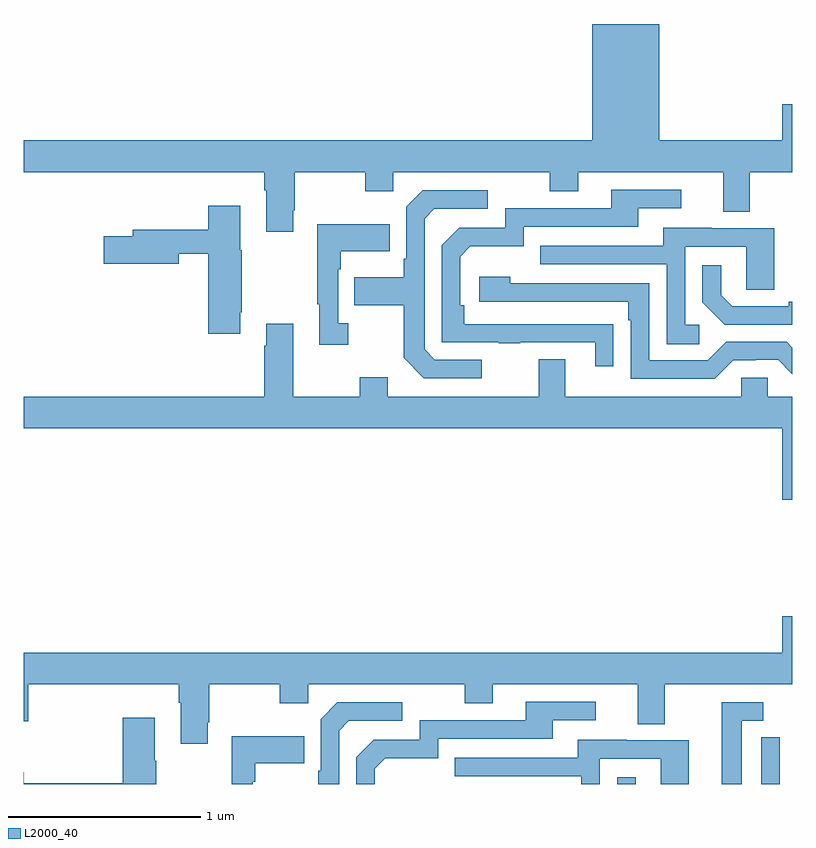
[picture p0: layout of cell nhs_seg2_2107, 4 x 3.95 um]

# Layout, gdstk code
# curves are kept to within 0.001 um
import gdstk
lib = gdstk.Library(unit=1e-6, precision=1e-09)
def R(c, l, rs):  # rectangles x0, y0, x1, y1
    for r in rs: c.add(gdstk.rectangle(r[:2], r[2:], *l))
def P(c, l, *ps):  # polygons
    for p in ps: c.add(gdstk.Polygon(p, *l))
L2000_40 = (2000, 40)

nhs_seg2_2107 = lib.new_cell('nhs_seg2_2107')
R(nhs_seg2_2107, L2000_40, [(224.088,629.8,224.185,629.836)])
P(nhs_seg2_2107, L2000_40, [(222.403,632.785),(222.411,632.785),(222.411,632.984),(222.778,632.984),(222.778,632.885),(222.924,632.885),(222.924,632.984),(223.738,632.984),(223.738,632.885),(223.885,632.885),(223.885,632.984),(224.639,632.984),(224.639,632.776),(224.779,632.776),(224.779,632.984),(225,632.984),(225,633.337),(224.948,633.337),(224.948,633.148),(224.308,633.148),(224.308,633.754),(223.958,633.754),(223.958,633.148),(221,633.148),(221,632.984),(222.251,632.984),(222.251,632.888),(222.263,632.888),(222.263,632.673),(222.403,632.673)],
  [(224.069,632.192),(223.292,632.193),(223.292,632.29),(223.272,632.29),(223.272,632.544),(223.325,632.597),(223.602,632.597),(223.602,632.7),(224.197,632.7),(224.197,632.796),(224.422,632.796),(224.422,632.892),(224.057,632.892),(224.057,632.796),(223.506,632.796),(223.506,632.694),(223.266,632.694),(223.176,632.604),(223.176,632.097),(223.471,632.097),(223.471,632.092),(223.583,632.092),(223.583,632.097),(223.973,632.097),(223.973,631.974),(224.069,631.974)],
  [(223.384,632.007),(223.14,632.007),(223.086,632.061),(223.086,632.742),(223.137,632.793),(223.414,632.793),(223.414,632.889),(223.077,632.889),(222.99,632.802),(222.99,632.533),(222.978,632.533),(222.978,632.437),(222.721,632.437),(222.721,632.29),(222.978,632.29),(222.978,632.017),(223.083,631.911),(223.384,631.911)],
  [(222.127,632.254),(222.135,632.254),(222.135,632.577),(222.127,632.577),(222.127,632.809),(221.96,632.809),(221.96,632.683),(221.567,632.683),(221.567,632.649),(221.418,632.649),(221.418,632.507),(221.806,632.507),(221.806,632.558),(221.96,632.558),(221.96,632.142),(222.127,632.142)],
  [(222.688,632.198),(222.636,632.198),(222.636,632.477),(222.649,632.477),(222.649,632.573),(222.905,632.573),(222.905,632.713),(222.528,632.713),(222.528,632.297),(222.539,632.297),(222.539,632.085),(222.688,632.085)],
  [(224.515,632.19),(224.442,632.19),(224.442,632.595),(224.76,632.595),(224.76,632.371),(224.905,632.371),(224.905,632.691),(224.581,632.691),(224.581,632.695),(224.327,632.695),(224.327,632.601),(223.687,632.601),(223.687,632.505),(224.346,632.505),(224.346,632.089),(224.515,632.089)],
  [(225,632.309),(224.981,632.309),(224.981,632.286),(224.686,632.286),(224.629,632.343),(224.629,632.5),(224.532,632.5),(224.532,632.306),(224.648,632.19),(225,632.19)],
  [(224.691,632.004),(224.81,632.004),(224.81,632.007),(224.925,632.007),(225,631.932),(225,632.07),(224.97,632.1),(224.655,632.1),(224.559,632.004),(224.256,632.004),(224.256,632.406),(223.532,632.406),(223.532,632.44),(223.371,632.44),(223.371,632.31),(224.147,632.31),(224.147,632.213),(224.16,632.213),(224.16,631.908),(224.595,631.908)],
  [(222.748,631.915),(222.748,631.816),(222.403,631.816),(222.403,632.194),(222.263,632.194),(222.263,632.081),(222.251,632.081),(222.251,631.816),(221,631.816),(221,631.652),(224.948,631.652),(224.948,631.278),(225,631.278),(225,631.816),(224.871,631.816),(224.871,631.914),(224.733,631.914),(224.733,631.816),(223.819,631.816),(223.819,632.011),(223.679,632.011),(223.679,631.816),(222.895,631.816),(222.895,631.915)],
  [(221.959,630.121),(221.967,630.121),(221.967,630.32),(222.334,630.32),(222.334,630.221),(222.48,630.221),(222.48,630.32),(223.294,630.32),(223.294,630.221),(223.441,630.221),(223.441,630.32),(224.195,630.32),(224.195,630.112),(224.335,630.112),(224.335,630.32),(225,630.32),(225,630.673),(224.948,630.673),(224.948,630.484),(221,630.484),(221,630.126),(221.024,630.126),(221.024,630.32),(221.807,630.32),(221.807,630.224),(221.819,630.224),(221.819,630.009),(221.959,630.009)],
  [(222.828,629.88),(222.881,629.933),(223.158,629.933),(223.158,630.036),(223.753,630.036),(223.753,630.132),(223.978,630.132),(223.978,630.228),(223.613,630.228),(223.613,630.132),(223.062,630.132),(223.062,630.03),(222.822,630.03),(222.732,629.94),(222.732,629.8),(222.828,629.8)],
  [(224.737,630.129),(224.848,630.129),(224.848,630.225),(224.633,630.225),(224.633,629.8),(224.737,629.8)],
  [(222.642,630.078),(222.693,630.129),(222.97,630.129),(222.97,630.225),(222.633,630.225),(222.546,630.138),(222.546,629.869),(222.534,629.869),(222.534,629.8),(222.642,629.8)],
  [(221.691,629.921),(221.683,629.921),(221.683,630.145),(221.516,630.145),(221.516,629.804),(221.002,629.804),(221.002,629.86),(221,629.86),(221,629.8),(221.691,629.8)],
  [(222.192,629.813),(222.205,629.813),(222.205,629.909),(222.461,629.909),(222.461,630.049),(222.084,630.049),(222.084,629.8),(222.192,629.8)],
  [(224.933,629.89),(224.934,629.89),(224.934,630.044),(224.838,630.044),(224.838,629.8),(224.933,629.8)],
  [(223.998,629.931),(224.316,629.931),(224.316,629.8),(224.461,629.8),(224.461,630.027),(224.137,630.027),(224.137,630.031),(223.883,630.031),(223.883,629.937),(223.243,629.937),(223.243,629.841),(223.902,629.841),(223.902,629.8),(223.998,629.8)])

lib.write_gds('nhs_seg2_2107.gds')
